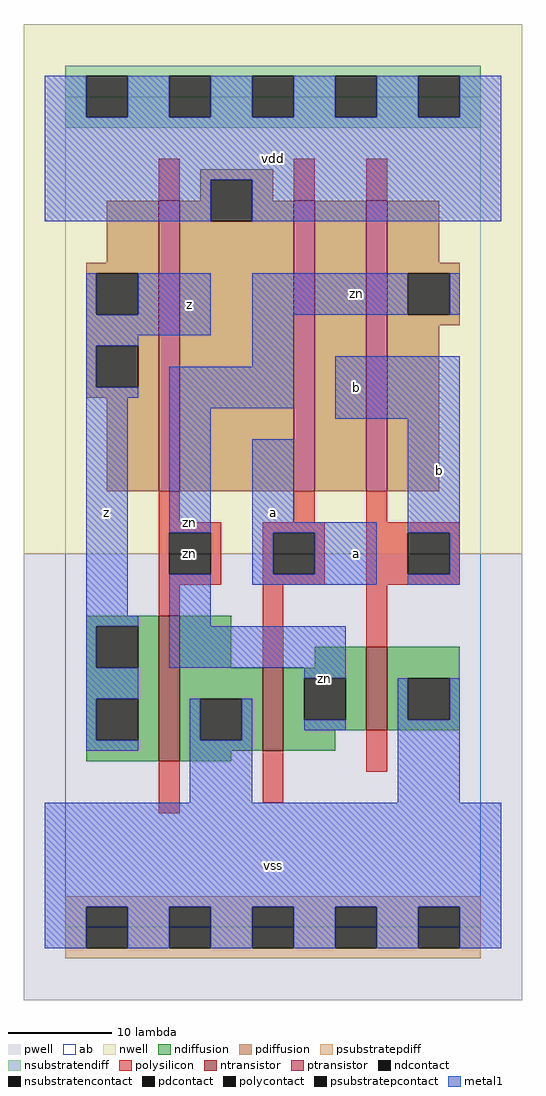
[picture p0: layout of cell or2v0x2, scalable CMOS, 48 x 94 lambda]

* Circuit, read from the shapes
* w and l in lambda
.subckt or2v0x2 a b vdd vss z zn
M1 vss zn z vss nfet w=14 l=2
M2 zn a vss vss nfet w=8 l=2
M3 vss b zn vss nfet w=8 l=2
M4 vdd zn z vdd pfet w=28 l=2
M5 n1 a vdd vdd pfet w=28 l=2
M6 zn b n1 vdd pfet w=28 l=2
.ends

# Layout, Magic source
magic
tech scmos
<< ab >>
rect 0 0 40 80
<< pwell >>
rect -4 -7 44 36
<< nwell >>
rect -4 36 44 87
<< polysilicon >>
rect 9 70 11 74
rect 22 70 24 74
rect 29 70 31 74
rect 9 39 11 42
rect 22 39 24 42
rect 29 39 31 42
rect 9 38 15 39
rect 9 34 10 38
rect 14 34 15 38
rect 9 33 15 34
rect 19 38 25 39
rect 19 34 20 38
rect 24 34 25 38
rect 19 33 25 34
rect 29 38 38 39
rect 29 34 33 38
rect 37 34 38 38
rect 29 33 38 34
rect 9 30 11 33
rect 19 25 21 33
rect 29 27 31 33
rect 9 11 11 16
rect 19 12 21 17
rect 29 15 31 19
<< ndiffusion >>
rect 2 29 9 30
rect 2 25 3 29
rect 7 25 9 29
rect 2 22 9 25
rect 2 18 3 22
rect 7 18 9 22
rect 2 16 9 18
rect 11 25 16 30
rect 24 25 29 27
rect 11 22 19 25
rect 11 18 13 22
rect 17 18 19 22
rect 11 17 19 18
rect 21 24 29 25
rect 21 20 23 24
rect 27 20 29 24
rect 21 19 29 20
rect 31 24 38 27
rect 31 20 33 24
rect 37 20 38 24
rect 31 19 38 20
rect 21 17 26 19
rect 11 16 16 17
<< pdiffusion >>
rect 13 72 20 73
rect 13 70 14 72
rect 4 64 9 70
rect 2 63 9 64
rect 2 59 3 63
rect 7 59 9 63
rect 2 56 9 59
rect 2 52 3 56
rect 7 52 9 56
rect 2 51 9 52
rect 4 42 9 51
rect 11 68 14 70
rect 18 70 20 72
rect 18 68 22 70
rect 11 42 22 68
rect 24 42 29 70
rect 31 64 36 70
rect 31 63 38 64
rect 31 59 33 63
rect 37 59 38 63
rect 31 58 38 59
rect 31 42 36 58
<< metal1 >>
rect -2 78 2 82
rect 6 78 10 82
rect 14 78 18 82
rect 22 78 26 82
rect 30 78 34 82
rect 38 78 42 82
rect -2 72 42 78
rect -2 68 14 72
rect 18 68 42 72
rect 2 59 3 63
rect 7 59 14 63
rect 2 57 14 59
rect 18 59 33 63
rect 37 59 38 63
rect 2 56 7 57
rect 2 52 3 56
rect 18 54 22 59
rect 2 51 7 52
rect 2 30 6 51
rect 10 50 22 54
rect 10 38 14 50
rect 26 49 38 55
rect 2 29 7 30
rect 2 25 3 29
rect 10 29 14 34
rect 18 39 22 47
rect 18 38 30 39
rect 18 34 20 38
rect 24 34 30 38
rect 18 33 30 34
rect 33 38 38 49
rect 37 34 38 38
rect 33 33 38 34
rect 10 25 27 29
rect 2 22 7 25
rect 23 24 27 25
rect 2 18 3 22
rect 2 17 7 18
rect 12 18 13 22
rect 17 18 18 22
rect 23 19 27 20
rect 32 20 33 24
rect 37 20 38 24
rect 12 12 18 18
rect 32 12 38 20
rect -2 2 42 12
rect -2 -2 2 2
rect 6 -2 10 2
rect 14 -2 18 2
rect 22 -2 26 2
rect 30 -2 34 2
rect 38 -2 42 2
<< ntransistor >>
rect 9 16 11 30
rect 19 17 21 25
rect 29 19 31 27
<< ptransistor >>
rect 9 42 11 70
rect 22 42 24 70
rect 29 42 31 70
<< polycontact >>
rect 10 34 14 38
rect 20 34 24 38
rect 33 34 37 38
<< ndcontact >>
rect 3 25 7 29
rect 3 18 7 22
rect 13 18 17 22
rect 23 20 27 24
rect 33 20 37 24
<< pdcontact >>
rect 3 59 7 63
rect 3 52 7 56
rect 14 68 18 72
rect 33 59 37 63
<< psubstratepcontact >>
rect 2 -2 6 2
rect 10 -2 14 2
rect 18 -2 22 2
rect 26 -2 30 2
rect 34 -2 38 2
<< nsubstratencontact >>
rect 2 78 6 82
rect 10 78 14 82
rect 18 78 22 82
rect 26 78 30 82
rect 34 78 38 82
<< psubstratepdiff >>
rect 0 2 40 3
rect 0 -2 2 2
rect 6 -2 10 2
rect 14 -2 18 2
rect 22 -2 26 2
rect 30 -2 34 2
rect 38 -2 40 2
rect 0 -3 40 -2
<< nsubstratendiff >>
rect 0 82 40 83
rect 0 78 2 82
rect 6 78 10 82
rect 14 78 18 82
rect 22 78 26 82
rect 30 78 34 82
rect 38 78 40 82
rect 0 77 40 78
<< labels >>
rlabel polycontact 12 36 12 36 6 zn
rlabel metal1 4 40 4 40 6 z
rlabel metal1 12 39 12 39 6 zn
rlabel metal1 12 60 12 60 6 z
rlabel metal1 20 6 20 6 6 vss
rlabel metal1 25 24 25 24 6 zn
rlabel metal1 28 36 28 36 6 a
rlabel metal1 20 40 20 40 6 a
rlabel metal1 28 52 28 52 6 b
rlabel metal1 20 74 20 74 6 vdd
rlabel metal1 36 44 36 44 6 b
rlabel metal1 28 61 28 61 6 zn
<< end >>
